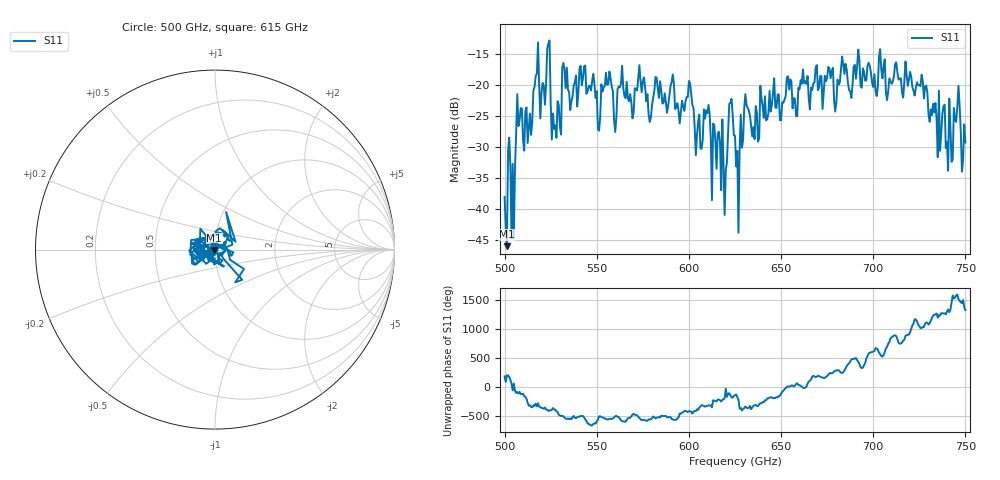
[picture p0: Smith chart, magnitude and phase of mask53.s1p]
!Created with skrf (http://scikit-rf.org).
# GHz S MA R 50.0
!freq magS11 angS11
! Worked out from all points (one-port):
!   401 points, 500 GHz to 750 GHz, reference 50 ohm
!   lowest |S11| = -45.9 dB at 501.2 GHz (marker M1), VSWR 1.01, Z = 49.5 - j0.136 ohm
!   |S11| at or under -10 dB: start of sweep to end of sweep
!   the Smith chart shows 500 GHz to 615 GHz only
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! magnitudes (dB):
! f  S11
! 500 GHz  -38.0
! 501.2 GHz  -45.9
! 505 GHz  -44.7
! 508.1 GHz  -25.7
! 513.8 GHz  -24.6
! 516.9 GHz  -18.6
! 520.6 GHz  -19.7
! 523.8 GHz  -13.4
! 526.9 GHz  -27.1
! 531.2 GHz  -17.3
! 542.5 GHz  -18.9
! 550.6 GHz  -27.1
! 562.5 GHz  -20.4
! 593.8 GHz  -23.0
! 610 GHz  -24.6
! 618.8 GHz  -32.7
! 622.5 GHz  -22.9
! 625 GHz  -28.2
! 626.2 GHz  -30.7
! 631.2 GHz  -23.3
! 634.4 GHz  -28.3
! 656.2 GHz  -23.8
! 683.8 GHz  -16.7
! 687.5 GHz  -21.1
! 718.8 GHz  -20.2
! 741.9 GHz  -27.0
! 745.6 GHz  -23.5
! 750 GHz  -29.3
